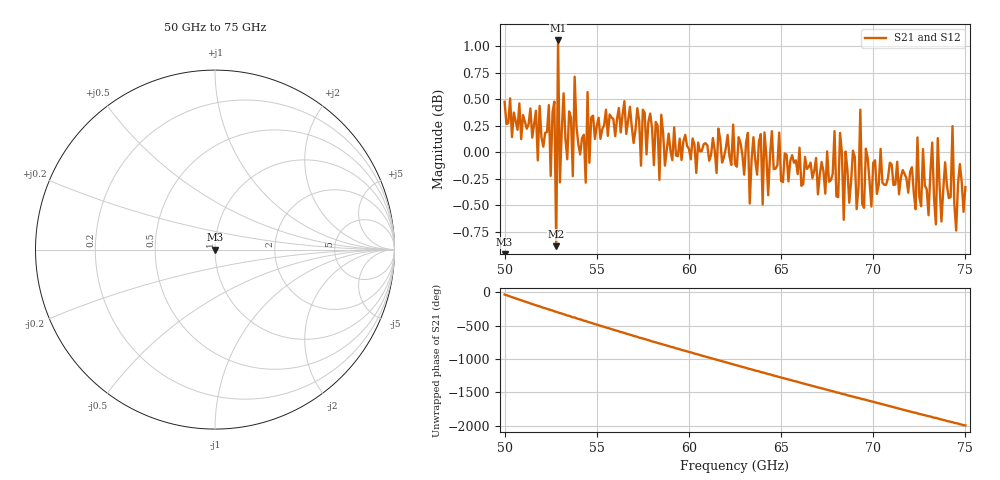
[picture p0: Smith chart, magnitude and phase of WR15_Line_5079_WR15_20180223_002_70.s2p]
# GHZ S RI R 50
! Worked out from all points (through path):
!   251 points, 50 GHz to 75 GHz, reference 50 ohm
!   highest |S21| = 1.05 dB at 52.9 GHz (marker M1); lowest = -0.9 dB at 52.8 GHz (marker M2)
!   lowest |S11| = - dB at 50 GHz (marker M3), VSWR 1.00, Z = 50 + j3.53e-15 ohm
!   |S11| at or under -10 dB: start of sweep to end of sweep
!   |S22| runs from - to - dB; largest |S21 - S12| = 2e-15
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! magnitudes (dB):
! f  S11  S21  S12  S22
! 50 GHz  -  0.5  0.5  -
! 52.4 GHz  -  0.4  0.4  -
! 52.5 GHz  -  -0.2  -0.2  -
! 52.7 GHz  -  0.5  0.5  -
! 52.8 GHz  -  -0.9  -0.9  -
! 52.9 GHz  -  1.1  1.1  -
! 53 GHz  -  -0.3  -0.3  -
! 53.2 GHz  -  0.6  0.6  -
! 53.7 GHz  -  -0.2  -0.2  -
! 53.8 GHz  -  0.7  0.7  -
! 54.2 GHz  -  0.1  0.1  -
! 57.9 GHz  -  0.4  0.4  -
! 58.4 GHz  -  -0.3  -0.3  -
! 58.5 GHz  -  0.4  0.4  -
! 62.5 GHz  -  -0.1  -0.1  -
! 66.7 GHz  -  -0.2  -0.2  -
! 68.2 GHz  -  0.2  0.2  -
! 69.1 GHz  -  -0.5  -0.5  -
! 69.3 GHz  -  0.4  0.4  -
! 69.5 GHz  -  -0.5  -0.5  -
! 70.9 GHz  -  -0.1  -0.1  -
! 75 GHz  -  -0.3  -0.3  -
